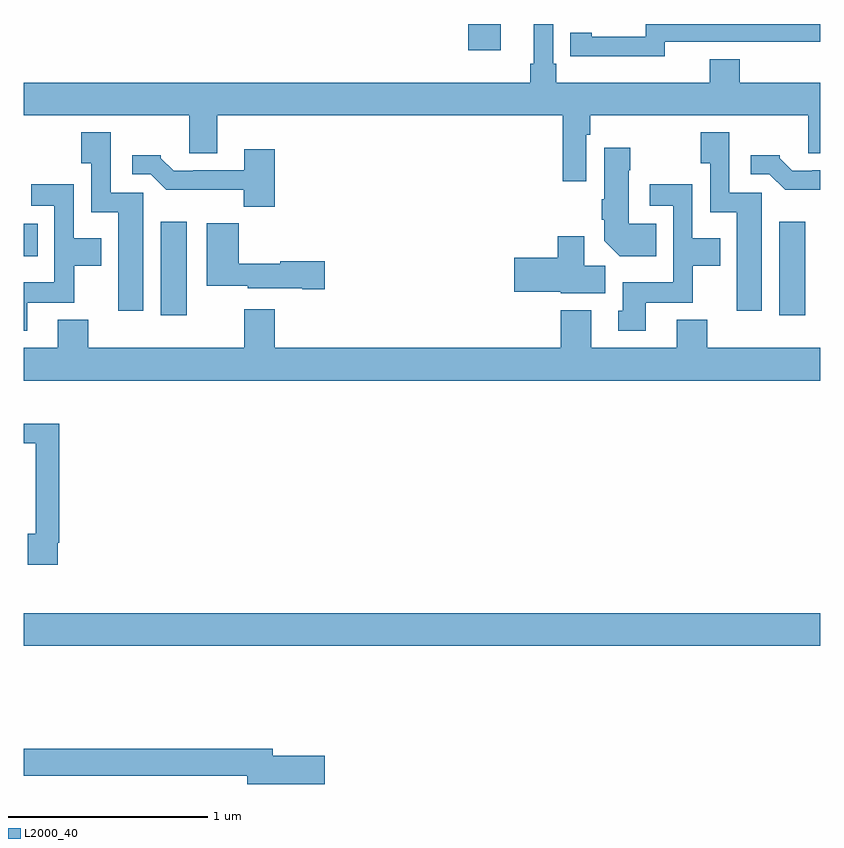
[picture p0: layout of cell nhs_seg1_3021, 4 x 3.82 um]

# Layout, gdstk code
import gdstk
lib = gdstk.Library(unit=1e-6, precision=1e-09)
def R(c, l, rs):  # rectangles x0, y0, x1, y1
    for r in rs: c.add(gdstk.rectangle(r[:2], r[2:], *l))
def P(c, l, *ps):  # polygons
    for p in ps: c.add(gdstk.Polygon(p, *l))
L2000_40 = (2000, 40)

nhs_seg1_3021 = lib.new_cell('nhs_seg1_3021')
R(nhs_seg1_3021, L2000_40, [(275,541.076,279,541.24), (275.687,542.736,275.818,543.205), (278.795,542.736,278.926,543.205), (275,543.032,275.069,543.196), (277.232,544.068,277.396,544.199)])
P(nhs_seg1_3021, L2000_40, [(277.824,543.644),(277.844,543.644),(277.844,543.74),(278.939,543.74),(278.939,543.55),(279,543.55),(279,543.904),(278.597,543.904),(278.597,544.021),(278.444,544.021),(278.444,543.904),(277.673,543.904),(277.673,544),(277.659,544),(277.659,544.199),(277.562,544.199),(277.562,544),(277.543,544),(277.543,543.904),(275,543.904),(275,543.74),(275.831,543.74),(275.831,543.55),(275.971,543.55),(275.971,543.74),(277.708,543.74),(277.708,543.408),(277.824,543.408)],
  [(278.22,544.11),(278.68,544.11),(278.68,544.109),(279,544.109),(279,544.199),(278.124,544.199),(278.124,544.134),(277.852,544.134),(277.852,544.154),(277.744,544.154),(277.744,544.038),(277.852,544.038),(277.852,544.037),(278.22,544.037)],
  [(275.599,543.351),(275.436,543.351),(275.436,543.655),(275.288,543.655),(275.288,543.499),(275.34,543.499),(275.34,543.254),(275.474,543.254),(275.474,542.76),(275.599,542.76)],
  [(278.707,543.351),(278.544,543.351),(278.544,543.655),(278.401,543.655),(278.401,543.499),(278.448,543.499),(278.448,543.254),(278.582,543.254),(278.582,542.76),(278.707,542.76)],
  [(278.177,543.196),(278.038,543.196),(278.038,543.464),(278.046,543.464),(278.046,543.577),(277.916,543.577),(277.916,543.32),(277.904,543.32),(277.904,543.217),(277.916,543.217),(277.916,543.11),(277.994,543.032),(278.177,543.032)],
  [(276.26,543.571),(276.107,543.571),(276.107,543.465),(275.851,543.465),(275.851,543.462),(275.752,543.462),(275.688,543.526),(275.688,543.541),(275.544,543.541),(275.544,543.444),(275.637,543.444),(275.716,543.366),(276.105,543.366),(276.105,543.281),(276.26,543.281)],
  [(279,543.465),(278.959,543.465),(278.959,543.462),(278.86,543.462),(278.796,543.526),(278.796,543.541),(278.652,543.541),(278.652,543.444),(278.745,543.444),(278.824,543.366),(279,543.366)],
  [(275.017,542.798),(275.253,542.798),(275.253,542.984),(275.389,542.984),(275.389,543.124),(275.25,543.124),(275.25,543.394),(275.037,543.394),(275.037,543.285),(275.154,543.285),(275.154,542.902),(275,542.902),(275,542.658),(275.017,542.658)],
  [(278.125,542.798),(278.361,542.798),(278.361,542.984),(278.497,542.984),(278.497,543.124),(278.358,543.124),(278.358,543.394),(278.145,543.394),(278.145,543.285),(278.262,543.285),(278.262,542.902),(278.009,542.902),(278.009,542.76),(277.985,542.76),(277.985,542.658),(278.125,542.658)],
  [(276.511,543.008),(276.288,543.008),(276.288,542.995),(276.08,542.995),(276.08,543.199),(275.918,543.199),(275.918,542.885),(276.126,542.885),(276.126,542.873),(276.398,542.873),(276.398,542.866),(276.511,542.866)],
  [(277.921,542.984),(277.816,542.984),(277.816,543.133),(277.682,543.133),(277.682,543.026),(277.464,543.026),(277.464,542.855),(277.698,542.855),(277.698,542.846),(277.921,542.846)],
  [(279,542.572),(278.432,542.572),(278.432,542.713),(278.279,542.713),(278.279,542.572),(277.849,542.572),(277.849,542.761),(277.697,542.761),(277.697,542.572),(276.26,542.572),(276.26,542.767),(276.107,542.767),(276.107,542.572),(275.324,542.572),(275.324,542.713),(275.171,542.713),(275.171,542.572),(275,542.572),(275,542.408),(279,542.408)],
  [(275.17,541.594),(275.177,541.594),(275.177,542.192),(275,542.192),(275,542.094),(275.061,542.094),(275.061,541.638),(275.021,541.638),(275.021,541.482),(275.17,541.482)],
  [(276.511,540.524),(276.25,540.524),(276.25,540.56),(275,540.56),(275,540.424),(276.122,540.424),(276.122,540.382),(276.511,540.382)])

lib.write_gds('nhs_seg1_3021.gds')
